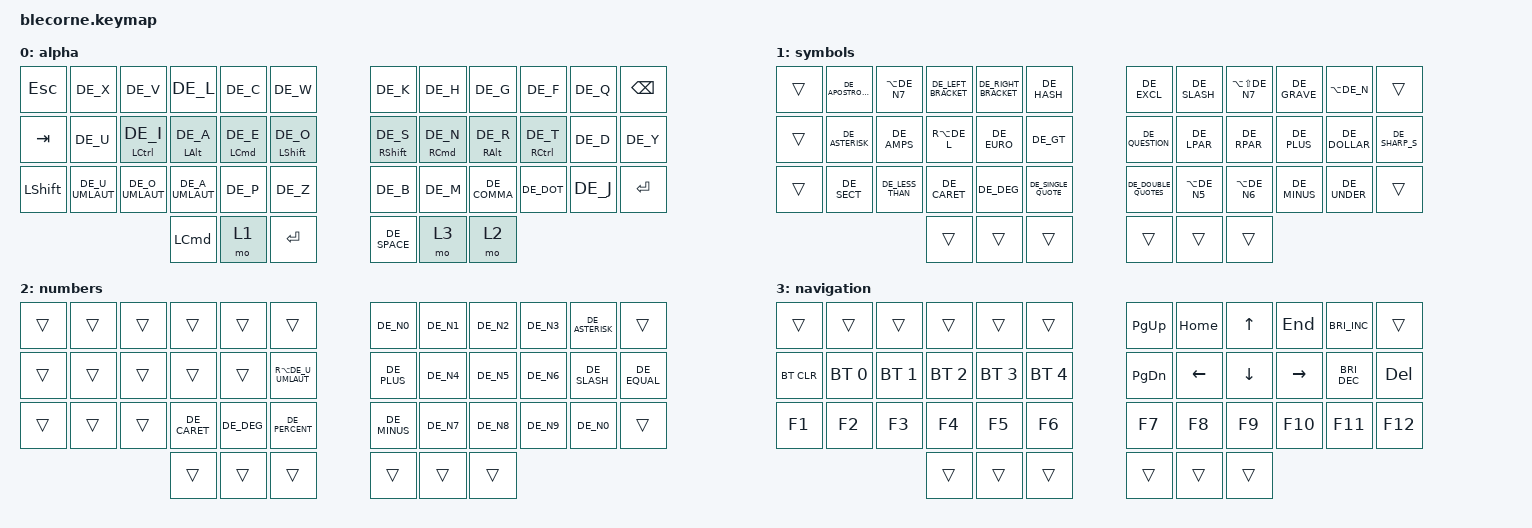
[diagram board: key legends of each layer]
/*
 * Copyright (c) 2020 The ZMK Contributors
 * SPDX-License-Identifier: MIT
 */

#include <behaviors.dtsi>
#include <dt-bindings/zmk/bt.h>
#include <dt-bindings/zmk/keys.h>
#include "keys_de.h"

/ {
    chosen {
        zmk,physical-layout = &foostan_corne_6col_layout;

        // zmk,physical-layout = &foostan_corne_5col_layout;
    };
};

/ {
    behaviors {
        hml: hml {
            compatible = "zmk,behavior-hold-tap";
            label = "HML";
            bindings = <&kp>, <&kp>;

            #binding-cells = <2>;
            tapping-term-ms = <280>;
            flavor = "tap-preferred";
            hold-trigger-key-positions = <6 7 8 9 10 11 18 19 20 21 22 23 30 31 32 33 34 35 40 41 39 38 37 36 0 12 24>;
            hold-trigger-on-release;
            hold-while-undecided;
        };

        hmr: hmr {
            compatible = "zmk,behavior-hold-tap";
            label = "HMR";
            bindings = <&kp>, <&kp>;

            #binding-cells = <2>;
            tapping-term-ms = <280>;
            flavor = "tap-preferred";
            hold-trigger-key-positions = <0 1 2 4 5 12 13 14 15 16 17 24 25 26 27 28 29 36 37 38 3 39 40 41 35 11>;
            hold-trigger-on-release;
            hold-while-undecided;
        };

        hml_shift: hml_shift {
            compatible = "zmk,behavior-hold-tap";
            label = "HML_SHIFT";
            bindings = <&kp>, <&kp>;

            #binding-cells = <2>;
            tapping-term-ms = <280>;
            flavor = "hold-preferred";
            hold-trigger-key-positions = <6 7 8 9 10 11 18 19 20 21 22 23 30 31 32 33 34 35 40 41 39 38 0 12 24 37 36>;
            hold-trigger-on-release;
            hold-while-undecided;
        };

        hmr_shift: hmr_shift {
            compatible = "zmk,behavior-hold-tap";
            label = "HMR_SHIFT";
            bindings = <&kp>, <&kp>;

            #binding-cells = <2>;
            tapping-term-ms = <280>;
            flavor = "hold-preferred";
            hold-trigger-key-positions = <0 1 2 4 5 12 13 14 15 16 17 24 25 26 27 28 29 36 37 38 3 39 40 41 35 11>;
            hold-trigger-on-release;
            hold-while-undecided;
        };
    };

    keymap {
        compatible = "zmk,keymap";

        alpha {
            bindings = <
&kp ESC    &kp DE_X         &kp DE_V                &kp DE_L            &kp DE_C                &kp DE_W                      &kp DE_K                     &kp DE_H                 &kp DE_G             &kp DE_F                 &kp DE_Q  &kp BACKSPACE
&kp TAB    &kp DE_U         &hml LEFT_CONTROL DE_I  &hml LEFT_ALT DE_A  &hml LEFT_COMMAND DE_E  &hml_shift LEFT_SHIFT DE_O    &hmr_shift RIGHT_SHIFT DE_S  &hmr RIGHT_COMMAND DE_N  &hmr RIGHT_ALT DE_R  &hmr RIGHT_CONTROL DE_T  &kp DE_D  &kp DE_Y
&kp LSHFT  &kp DE_U_UMLAUT  &kp DE_O_UMLAUT         &kp DE_A_UMLAUT     &kp DE_P                &kp DE_Z                      &kp DE_B                     &kp DE_M                 &kp DE_COMMA         &kp DE_DOT               &kp DE_J  &kp ENTER
                                                    &kp LEFT_COMMAND    &mo 1                   &kp ENTER                     &kp DE_SPACE                 &mo 3                    &mo 2
            >;
        };

        symbols {
            bindings = <
&trans  &kp DE_APOSTROPHE  &kp LA(DE_N7)     &kp DE_LEFT_BRACKET  &kp DE_RIGHT_BRACKET  &kp DE_HASH            &kp DE_EXCL           &kp DE_SLASH   &kp LA(LS(DE_N7))  &kp DE_GRAVE  &kp LA(DE_N)   &trans
&trans  &kp DE_ASTERISK    &kp DE_AMPS       &kp RA(DE_L)         &kp DE_EURO           &kp DE_GT              &kp DE_QUESTION       &kp DE_LPAR    &kp DE_RPAR        &kp DE_PLUS   &kp DE_DOLLAR  &kp DE_SHARP_S
&trans  &kp DE_SECT        &kp DE_LESS_THAN  &kp DE_CARET         &kp DE_DEG            &kp DE_SINGLE_QUOTE    &kp DE_DOUBLE_QUOTES  &kp LA(DE_N5)  &kp LA(DE_N6)      &kp DE_MINUS  &kp DE_UNDER   &trans
                                             &trans               &trans                &trans                 &trans                &trans         &trans
            >;
        };

        numbers {
            bindings = <
&trans  &trans  &trans  &trans        &trans      &trans                 &kp DE_N0     &kp DE_N1  &kp DE_N2  &kp DE_N3  &kp DE_ASTERISK  &trans
&trans  &trans  &trans  &trans        &trans      &kp RA(DE_U_UMLAUT)    &kp DE_PLUS   &kp DE_N4  &kp DE_N5  &kp DE_N6  &kp DE_SLASH     &kp DE_EQUAL
&trans  &trans  &trans  &kp DE_CARET  &kp DE_DEG  &kp DE_PERCENT         &kp DE_MINUS  &kp DE_N7  &kp DE_N8  &kp DE_N9  &kp DE_N0        &trans
                        &trans        &trans      &trans                 &trans        &trans     &trans
            >;
        };

        navigation {
            bindings = <
&trans      &trans        &trans        &trans        &trans        &trans          &kp PAGE_UP    &kp HOME  &kp UP    &kp END    &kp C_BRIGHTNESS_INC  &trans
&bt BT_CLR  &bt BT_SEL 0  &bt BT_SEL 1  &bt BT_SEL 2  &bt BT_SEL 3  &bt BT_SEL 4    &kp PAGE_DOWN  &kp LEFT  &kp DOWN  &kp RIGHT  &kp C_BRIGHTNESS_DEC  &kp DEL
&kp F1      &kp F2        &kp F3        &kp F4        &kp F5        &kp F6          &kp F7         &kp F8    &kp F9    &kp F10    &kp F11               &kp F12
                                        &trans        &trans        &trans          &trans         &trans    &trans
            >;
        };
    };
};
